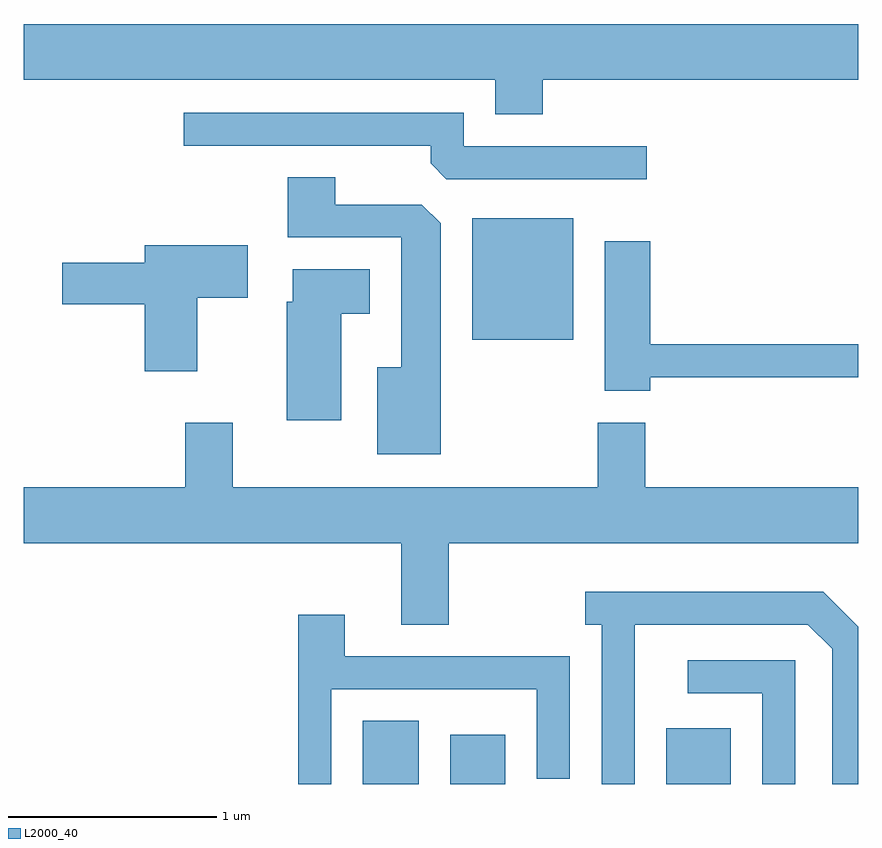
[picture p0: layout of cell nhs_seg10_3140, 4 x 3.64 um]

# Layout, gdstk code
import gdstk
lib = gdstk.Library(unit=1e-6, precision=1e-09)
def R(c, l, rs):  # rectangles x0, y0, x1, y1
    for r in rs: c.add(gdstk.rectangle(r[:2], r[2:], *l))
def P(c, l, *ps):  # polygons
    for p in ps: c.add(gdstk.Polygon(p, *l))
L2000_40 = (2000, 40)

nhs_seg10_3140 = lib.new_cell('nhs_seg10_3140')
R(nhs_seg10_3140, L2000_40, [(279.236,2130.522,279.504,2130.824), (279.656,2130.522,279.919,2130.759), (280.691,2130.522,280.999,2130.789), (279.761,2132.651,280.244,2133.234)])
P(nhs_seg10_3140, L2000_40, [(280.099,2133.896),(281.611,2133.896),(281.611,2134.164),(277.611,2134.164),(277.611,2133.896),(279.871,2133.896),(279.871,2133.731),(280.099,2133.731)],
  [(280.598,2133.579),(279.719,2133.579),(279.719,2133.739),(278.378,2133.739),(278.378,2133.581),(279.561,2133.581),(279.561,2133.497),(279.637,2133.421),(280.598,2133.421)],
  [(279.609,2133.209),(279.519,2133.299),(279.104,2133.299),(279.104,2133.429),(278.876,2133.429),(278.876,2133.141),(279.421,2133.141),(279.421,2132.519),(279.306,2132.519),(279.306,2132.101),(279.609,2132.101)],
  [(280.614,2132.471),(281.611,2132.471),(281.611,2132.629),(280.614,2132.629),(280.614,2133.124),(280.396,2133.124),(280.396,2132.406),(280.614,2132.406)],
  [(278.444,2132.851),(278.684,2132.851),(278.684,2133.104),(278.191,2133.104),(278.191,2133.019),(277.796,2133.019),(277.796,2132.821),(278.191,2132.821),(278.191,2132.501),(278.444,2132.501)],
  [(279.134,2132.776),(279.269,2132.776),(279.269,2132.989),(278.901,2132.989),(278.901,2132.834),(278.871,2132.834),(278.871,2132.266),(279.134,2132.266)],
  [(279.649,2131.676),(281.611,2131.676),(281.611,2131.944),(280.589,2131.944),(280.589,2132.254),(280.361,2132.254),(280.361,2131.944),(278.614,2131.944),(278.614,2132.254),(278.386,2132.254),(278.386,2131.944),(277.611,2131.944),(277.611,2131.676),(279.421,2131.676),(279.421,2131.286),(279.649,2131.286)],
  [(280.539,2131.286),(281.369,2131.286),(281.486,2131.169),(281.486,2130.522),(281.611,2130.522),(281.611,2131.275),(281.442,2131.444),(280.303,2131.444),(280.303,2131.286),(280.381,2131.286),(280.381,2130.522),(280.539,2130.522)],
  [(279.084,2130.976),(280.071,2130.976),(280.071,2130.548),(280.229,2130.548),(280.229,2131.134),(279.149,2131.134),(279.149,2131.334),(278.926,2131.334),(278.926,2130.522),(279.084,2130.522)],
  [(281.309,2131.114),(280.793,2131.114),(280.793,2130.956),(281.151,2130.956),(281.151,2130.522),(281.309,2130.522)])

lib.write_gds('nhs_seg10_3140.gds')
